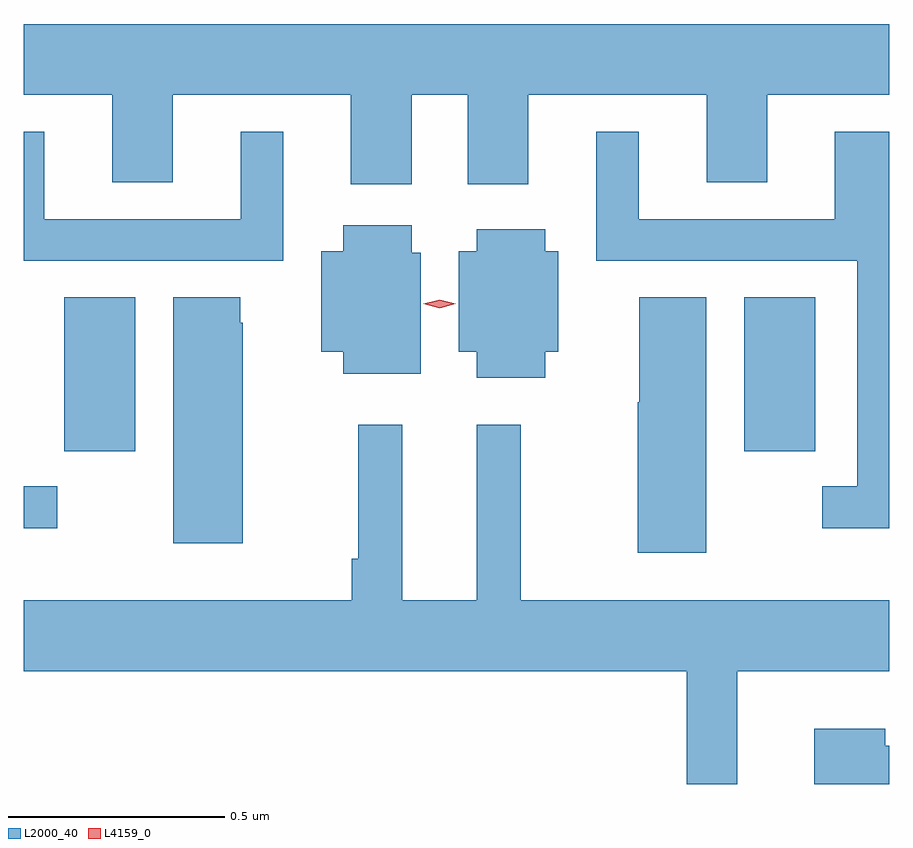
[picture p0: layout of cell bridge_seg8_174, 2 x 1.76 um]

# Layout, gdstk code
import gdstk
lib = gdstk.Library(unit=1e-6, precision=1e-09)
def R(c, l, rs):  # rectangles x0, y0, x1, y1
    for r in rs: c.add(gdstk.rectangle(r[:2], r[2:], *l))
def P(c, l, *ps):  # polygons
    for p in ps: c.add(gdstk.Polygon(p, *l))
L2000_40 = (2000, 40)
L4159_0 = (4159, 0)

bridge_seg8_174 = lib.new_cell('bridge_seg8_174')
R(bridge_seg8_174, L2000_40, [(393.899,1103.51,393.976,1103.607), (393.992,1103.688,394.156,1104.044), (395.564,1103.688,395.728,1104.044)])
P(bridge_seg8_174, L2000_40, [(394.795,1104.512),(394.925,1104.512),(394.925,1104.306),(395.065,1104.306),(395.065,1104.512),(395.477,1104.512),(395.477,1104.31),(395.617,1104.31),(395.617,1104.512),(395.899,1104.512),(395.899,1104.676),(393.899,1104.676),(393.899,1104.512),(394.103,1104.512),(394.103,1104.31),(394.243,1104.31),(394.243,1104.512),(394.655,1104.512),(394.655,1104.306),(394.795,1104.306)],
  [(395.899,1104.427),(395.774,1104.427),(395.774,1104.225),(395.32,1104.225),(395.32,1104.427),(395.222,1104.427),(395.222,1104.129),(395.826,1104.129),(395.826,1103.607),(395.745,1103.607),(395.745,1103.51),(395.899,1103.51)],
  [(394.498,1104.427),(394.4,1104.427),(394.4,1104.225),(393.946,1104.225),(393.946,1104.427),(393.899,1104.427),(393.899,1104.129),(394.498,1104.129)],
  [(394.816,1104.147),(394.795,1104.147),(394.795,1104.211),(394.637,1104.211),(394.637,1104.151),(394.586,1104.151),(394.586,1103.918),(394.637,1103.918),(394.637,1103.867),(394.816,1103.867)],
  [(395.104,1103.918),(395.134,1103.918),(395.134,1104.151),(395.104,1104.151),(395.104,1104.202),(394.946,1104.202),(394.946,1104.151),(394.904,1104.151),(394.904,1103.918),(394.946,1103.918),(394.946,1103.858),(395.104,1103.858)],
  [(394.405,1103.985),(394.399,1103.985),(394.399,1104.044),(394.244,1104.044),(394.244,1103.475),(394.405,1103.475)],
  [(395.476,1104.044),(395.321,1104.044),(395.321,1103.802),(395.318,1103.802),(395.318,1103.454),(395.476,1103.454)],
  [(395.548,1103.18),(395.899,1103.18),(395.899,1103.344),(395.048,1103.344),(395.048,1103.749),(394.946,1103.749),(394.946,1103.344),(394.774,1103.344),(394.774,1103.749),(394.672,1103.749),(394.672,1103.44),(394.657,1103.44),(394.657,1103.344),(393.899,1103.344),(393.899,1103.18),(395.431,1103.18),(395.431,1102.919),(395.548,1102.919)],
  [(395.899,1103.008),(395.89,1103.008),(395.89,1103.047),(395.726,1103.047),(395.726,1102.919),(395.899,1102.919)])
P(bridge_seg8_174, L4159_0, [(394.86,1104.019),(394.822,1104.029),(394.822,1104.029),(394.822,1104.029),(394.86,1104.039),(394.897,1104.029),(394.897,1104.029),(394.897,1104.029)])

lib.write_gds('bridge_seg8_174.gds')
